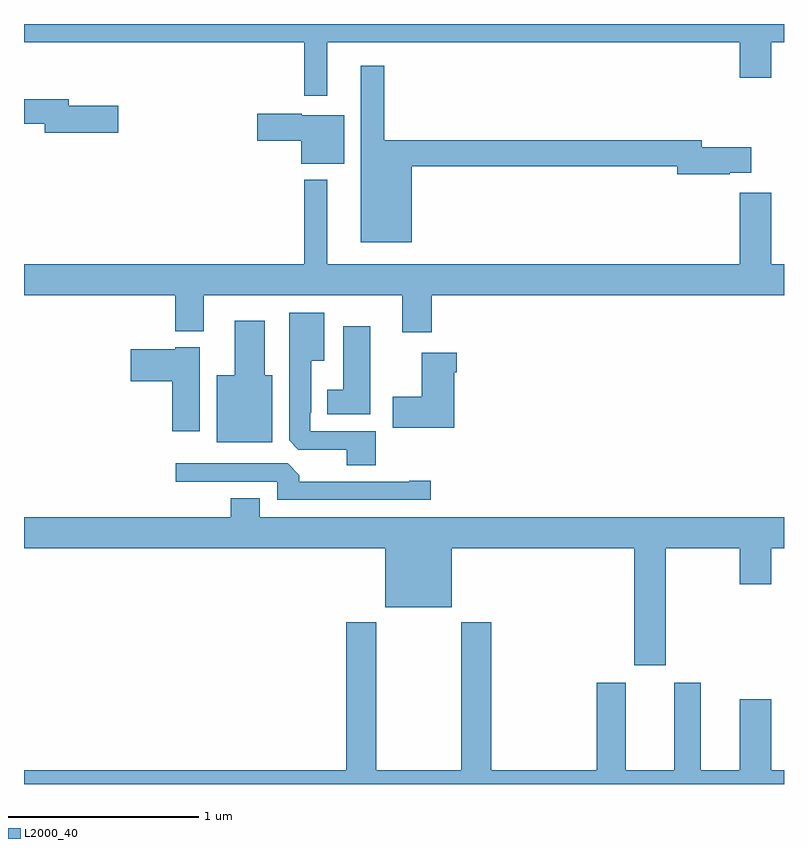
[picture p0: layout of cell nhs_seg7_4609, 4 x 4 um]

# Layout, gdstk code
import gdstk
lib = gdstk.Library(unit=1e-6, precision=1e-09)
def P(c, l, *ps):  # polygons
    for p in ps: c.add(gdstk.Polygon(p, *l))
L2000_40 = (2000, 40)

nhs_seg7_4609 = lib.new_cell('nhs_seg7_4609')
P(nhs_seg7_4609, L2000_40, [(401,1045.904),(402.474,1045.904),(402.474,1045.623),(402.595,1045.623),(402.595,1045.904),(404.768,1045.904),(404.768,1045.716),(404.932,1045.716),(404.932,1045.904),(405,1045.904),(405,1046),(401,1046)],
  [(403.042,1045.252),(404.438,1045.252),(404.438,1045.21),(404.714,1045.21),(404.714,1045.217),(404.827,1045.217),(404.827,1045.352),(404.566,1045.352),(404.566,1045.388),(402.895,1045.388),(402.895,1045.78),(402.773,1045.78),(402.773,1044.851),(403.042,1044.851)],
  [(401.497,1045.569),(401.236,1045.569),(401.236,1045.603),(401,1045.603),(401,1045.474),(401.108,1045.474),(401.108,1045.427),(401.497,1045.427)],
  [(402.685,1045.519),(402.462,1045.519),(402.462,1045.527),(402.228,1045.527),(402.228,1045.385),(402.458,1045.385),(402.458,1045.265),(402.685,1045.265)],
  [(403.145,1044.572),(405,1044.572),(405,1044.736),(404.932,1044.736),(404.932,1045.111),(404.768,1045.111),(404.768,1044.736),(402.595,1044.736),(402.595,1045.18),(402.474,1045.18),(402.474,1044.736),(401,1044.736),(401,1044.572),(401.795,1044.572),(401.795,1044.383),(401.947,1044.383),(401.947,1044.572),(402.992,1044.572),(402.992,1044.378),(403.145,1044.378)],
  [(402.851,1043.856),(402.507,1043.856),(402.507,1043.953),(402.511,1043.953),(402.511,1044.227),(402.58,1044.227),(402.58,1044.481),(402.395,1044.481),(402.395,1043.809),(402.444,1043.76),(402.698,1043.76),(402.698,1043.677),(402.851,1043.677)],
  [(402.307,1044.151),(402.268,1044.151),(402.268,1044.439),(402.11,1044.439),(402.11,1044.151),(402.014,1044.151),(402.014,1043.798),(402.307,1043.798)],
  [(402.823,1044.409),(402.68,1044.409),(402.68,1044.076),(402.596,1044.076),(402.596,1043.945),(402.823,1043.945)],
  [(401.926,1044.298),(401.796,1044.298),(401.796,1044.289),(401.562,1044.289),(401.562,1044.119),(401.78,1044.119),(401.78,1043.856),(401.926,1043.856)],
  [(403.264,1044.167),(403.277,1044.167),(403.277,1044.271),(403.094,1044.271),(403.094,1044.039),(402.942,1044.039),(402.942,1043.876),(403.264,1043.876)],
  [(403.141,1043.597),(403.028,1043.597),(403.028,1043.592),(402.449,1043.592),(402.449,1043.626),(402.387,1043.688),(401.799,1043.688),(401.799,1043.592),(402.333,1043.592),(402.333,1043.496),(403.141,1043.496)],
  [(404.377,1043.24),(404.768,1043.24),(404.768,1043.052),(404.932,1043.052),(404.932,1043.24),(405,1043.24),(405,1043.404),(402.241,1043.404),(402.241,1043.503),(402.089,1043.503),(402.089,1043.404),(401,1043.404),(401,1043.24),(402.902,1043.24),(402.902,1042.931),(403.252,1042.931),(403.252,1043.24),(404.213,1043.24),(404.213,1042.626),(404.377,1042.626)],
  [(405,1042.072),(404.932,1042.072),(404.932,1042.447),(404.768,1042.447),(404.768,1042.072),(404.563,1042.072),(404.563,1042.534),(404.423,1042.534),(404.423,1042.072),(404.167,1042.072),(404.167,1042.534),(404.015,1042.534),(404.015,1042.072),(403.46,1042.072),(403.46,1042.852),(403.3,1042.852),(403.3,1042.072),(402.855,1042.072),(402.855,1042.852),(402.695,1042.852),(402.695,1042.072),(401,1042.072),(401,1042),(405,1042)])

lib.write_gds('nhs_seg7_4609.gds')
